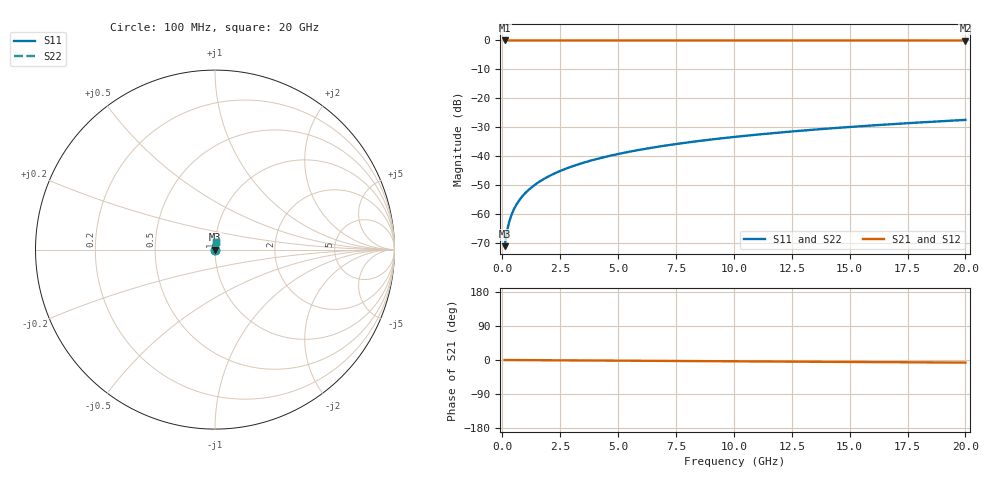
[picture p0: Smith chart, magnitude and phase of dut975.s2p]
! Touchstone file exported from HFSS 2026.1.0
!  File:  C:/ffzhzh/LocalFiles/Ansys_Project_Files/temp_train_TSV_975_1783187877_55132.aedt
!  Generated:  01:59:25 AM Jul  5, 2026
!  Design:  TSV
!  Project:  temp_train_TSV_975_1783187877_55132
! Variables:
!  h_bsmrdl = 2um
!  h_ox = 20um
!  h_rdl = 5um
!  h_sub = 57.95um
!  h_tmrdl = 5um
!  h_tsv = 57.95um
!  h_via = 3um
!  l_bsmrdl = 300um
!  l_sub = 416.1um
!  l_tmrdl = 200um
!  m_sub = 200um
!  pitch = 51.26um
!  r_tsv = 8.05um
!  s_tmrdl = 10um
!  w_bsmrdl = 18um
!  w_sub = 500um
!  w_tmrdl = 12um
!  x_tsv_center1 = 206um
!  x_tsv_center2 = 524um
!  x_tsv_center3 = 736um
!  x_tsv_center4 = 1054um
!  x_tsv_center5 = 1266um
!  x_tsv_center6 = 1584um
# GHz S MA R 50.000000
! Terminal data exported
! Port[1] = TSV1_1_T1
! Port[2] = TSV1_1_T2
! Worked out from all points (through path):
!   200 points, 100 MHz to 20 GHz, reference 50 ohm
!   highest |S21| = 0.00 dB at 100 MHz (marker M1); lowest = 0.0 dB at 20 GHz (marker M2)
!   lowest |S11| = -71.0 dB at 100 MHz (marker M3), VSWR 1.00, Z = 50 + j0.0246 ohm
!   |S11| at or under -10 dB: start of sweep to end of sweep
!   |S22| runs from -71.0 to -27.4 dB; largest |S21 - S12| = 4.2e-15
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0.1  0.0002819 60.9  0.9999 -0.0  0.9999 -0.0  0.0002819 60.9
! Gamma 0 0 0 0
! Port Impedance 50 0 50 0
0.2  0.000512 73.4  0.9999 -0.1  0.9999 -0.1  0.000512 73.4
0.3  0.0007491 77.7  0.9998 -0.1  0.9998 -0.1  0.0007491 77.7
0.4  0.000985 79.7  0.9998 -0.1  0.9998 -0.1  0.000985 79.7
0.5  0.001218 80.8  0.9998 -0.2  0.9998 -0.2  0.001218 80.8
0.6  0.001447 81.5  0.9998 -0.2  0.9998 -0.2  0.001447 81.5
0.7  0.001674 82.0  0.9998 -0.2  0.9998 -0.2  0.001674 82.0
0.8  0.001898 82.4  0.9998 -0.3  0.9998 -0.3  0.001898 82.4
1  0.00234 83.0  0.9997 -0.4  0.9997 -0.4  0.00234 83.0
1.4  0.003213 83.9  0.9997 -0.5  0.9997 -0.5  0.003213 83.9
1.7  0.003865 84.3  0.9996 -0.6  0.9996 -0.6  0.003865 84.3
2  0.004516 84.7  0.9996 -0.7  0.9996 -0.7  0.004516 84.7
2.7  0.006032 85.1  0.9996 -0.9  0.9996 -0.9  0.006032 85.1
3.5  0.007761 85.3  0.9995 -1.2  0.9995 -1.2  0.007761 85.3
4.2  0.009268 85.4  0.9994 -1.5  0.9994 -1.5  0.009268 85.4
5  0.01098 85.4  0.9994 -1.7  0.9994 -1.7  0.01098 85.4
6.8  0.01482 85.1  0.9992 -2.4  0.9992 -2.4  0.01482 85.1
8.3  0.018 84.8  0.9991 -2.9  0.9991 -2.9  0.018 84.8
10.1  0.02181 84.4  0.999 -3.5  0.999 -3.5  0.02181 84.4
13.4  0.02876 83.6  0.9987 -4.6  0.9987 -4.6  0.02876 83.6
16.7  0.03568 82.6  0.9983 -5.7  0.9983 -5.7  0.03568 82.6
20  0.04255 81.6  0.998 -6.9  0.998 -6.9  0.04255 81.6
